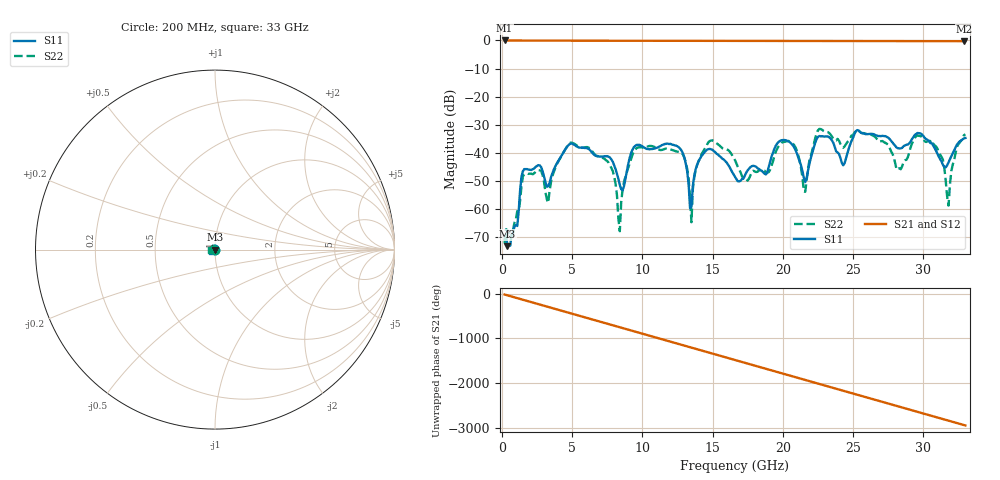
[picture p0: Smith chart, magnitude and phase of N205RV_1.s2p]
# GHZ S RI R 50
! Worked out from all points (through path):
!   329 points, 200 MHz to 33 GHz, reference 50 ohm
!   highest |S21| = -0.02 dB at 200 MHz (marker M1); lowest = -0.3 dB at 32.9 GHz (marker M2)
!   group delay of S21, straight-line fit = 248 ps
!   lowest |S11| = -73.2 dB at 400 MHz (marker M3), VSWR 1.00, Z = 50 + j0.00394 ohm
!   |S11| at or under -10 dB: start of sweep to end of sweep
!   |S22| runs from -72.3 to -31.5 dB; largest |S21 - S12| = 0.0019
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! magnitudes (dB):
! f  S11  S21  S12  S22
! 200 MHz  -70.8  0.0  0.0  -72.3
! 400 MHz  -73.2  0.0  0.0  -67.5
! 1.6 GHz  -45.8  -0.1  -0.1  -47.7
! 3.3 GHz  -51.9  -0.1  -0.1  -57.8
! 5.7 GHz  -38.2  -0.1  -0.1  -38.1
! 7.8 GHz  -42.4  -0.1  -0.1  -45.4
! 8.4 GHz  -51.4  -0.1  -0.1  -67.9
! 9.4 GHz  -38.0  -0.1  -0.1  -39.5
! 11.2 GHz  -37.8  -0.1  -0.1  -38.9
! 12.9 GHz  -40.2  -0.2  -0.2  -40.7
! 13.5 GHz  -59.2  -0.2  -0.2  -64.7
! 13.8 GHz  -45.8  -0.2  -0.2  -46.1
! 14.7 GHz  -38.7  -0.2  -0.2  -36.3
! 16.6 GHz  -48.6  -0.2  -0.2  -42.6
! 20.5 GHz  -36.2  -0.2  -0.2  -35.9
! 21.6 GHz  -50.4  -0.2  -0.2  -53.9
! 22.1 GHz  -40.0  -0.2  -0.2  -39.1
! 27.6 GHz  -35.0  -0.2  -0.2  -38.1
! 30.7 GHz  -37.3  -0.3  -0.3  -36.7
! 31.8 GHz  -43.4  -0.3  -0.3  -58.8
! 32.9 GHz  -34.9  -0.3  -0.3  -33.7
! 33 GHz  -34.7  -0.3  -0.3  -33.4
